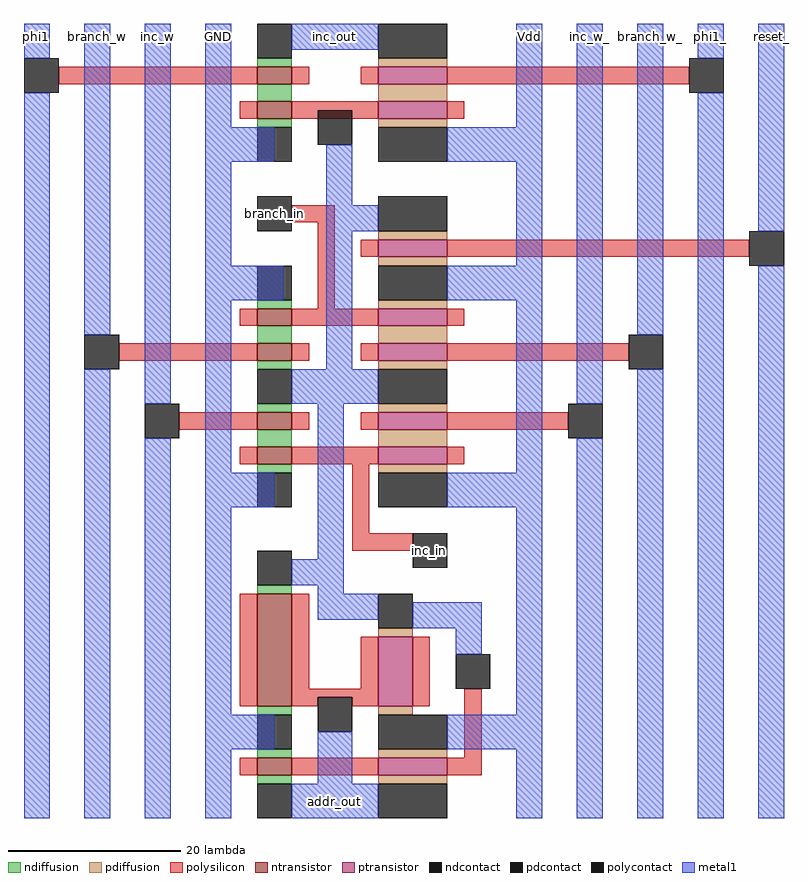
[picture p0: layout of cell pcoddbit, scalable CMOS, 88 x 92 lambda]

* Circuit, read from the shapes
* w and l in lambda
.subckt pcoddbit GND Vdd addr_out branch_in branch_w branch_w_ inc_in inc_out inc_w inc_w_ phi1 phi1_ reset_
M1 GND latch_2/in addr_out VSUBS nfet w=4 l=2
M2 latch_2/in addr_out GND VSUBS nfet w=4 l=13
M3 n1 inc_in GND VSUBS nfet w=4 l=2
M4 latch_2/in inc_w n1 VSUBS nfet w=4 l=2
M5 n2 branch_w latch_2/in VSUBS nfet w=4 l=2
M6 GND branch_in n2 VSUBS nfet w=4 l=2
M7 n3 latch_2/in GND VSUBS nfet w=4 l=2
M8 inc_out phi1 n3 VSUBS nfet w=4 l=2
M9 Vdd latch_2/in addr_out NWELL pfet w=8 l=2
M10 latch_2/in addr_out Vdd NWELL pfet w=4 l=8
M11 n4 inc_in Vdd NWELL pfet w=8 l=2
M12 latch_2/in inc_w_ n4 NWELL pfet w=8 l=2
M13 n5 branch_w_ latch_2/in NWELL pfet w=8 l=2
M14 Vdd branch_in n5 NWELL pfet w=8 l=2
M15 latch_2/in reset_ Vdd NWELL pfet w=8 l=2
M16 n6 latch_2/in Vdd NWELL pfet w=8 l=2
M17 inc_out phi1_ n6 NWELL pfet w=8 l=2
.ends

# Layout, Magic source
magic
tech scmos
<< polysilicon >>
rect -40 38 -19 40
rect 7 38 33 40
rect -13 22 -8 24
rect -10 10 -8 22
rect -5 18 -3 20
rect 5 18 40 20
rect -33 6 -19 8
rect 7 6 26 8
rect -26 -2 -19 0
rect 7 -2 19 0
rect -6 -14 -4 -6
rect -6 -16 1 -14
<< pdiffusion >>
rect -3 20 5 21
rect -3 17 5 18
<< metal1 >>
rect -44 41 -41 45
rect -44 -47 -41 37
rect -37 9 -34 45
rect -37 -47 -34 5
rect -30 1 -27 45
rect -23 33 -20 45
rect -10 42 -6 45
rect -23 29 -15 33
rect 13 33 16 45
rect -23 17 -20 29
rect -9 24 -6 31
rect 5 29 16 33
rect -9 21 -3 24
rect -23 13 -14 17
rect -30 -47 -27 -3
rect -23 -7 -20 13
rect -9 5 -6 21
rect 13 17 16 29
rect 5 13 16 17
rect -23 -11 -15 -7
rect -23 -35 -20 -11
rect -10 -17 -7 1
rect 13 -7 16 13
rect 20 1 23 45
rect 27 9 30 45
rect 34 41 37 45
rect 5 -11 16 -7
rect 13 -35 16 -11
rect -23 -39 -15 -35
rect 11 -39 16 -35
rect -23 -47 -20 -39
rect -10 -47 -6 -43
rect 13 -47 16 -39
rect 20 -47 23 -3
rect 27 -47 30 5
rect 34 -47 37 37
rect 41 21 44 45
rect 41 -47 44 17
<< ptransistor >>
rect -3 18 5 20
<< polycontact >>
rect -44 37 -40 41
rect 33 37 37 41
rect -10 31 -6 35
rect -17 21 -13 25
rect 40 17 44 21
rect -37 5 -33 9
rect 26 5 30 9
rect -30 -3 -26 1
rect 19 -3 23 1
rect 1 -18 5 -14
<< pdcontact >>
rect -3 21 5 25
rect -3 13 5 17
use latch  latch_2
transform 0 1 -17 1 0 35
box -6 -2 10 24
use latch  latch_0
transform 0 1 -17 -1 0 11
box -6 -2 10 24
use latch  latch_1
transform 0 1 -17 1 0 -5
box -6 -2 10 24
use staticizer  staticizer_0
transform 0 1 -21 -1 0 -35
box -19 2 12 32
<< labels >>
rlabel polycontact -15 23 -15 23 1 branch_in
rlabel polycontact 3 -16 3 -16 1 inc_in
rlabel metal1 -30 42 -27 45 4 inc_w
rlabel metal1 20 42 23 45 6 inc_w_
rlabel metal1 13 42 16 45 5 Vdd
rlabel metal1 -23 42 -20 45 5 GND
rlabel metal1 -37 42 -34 45 4 branch_w
rlabel metal1 27 42 30 45 6 branch_w_
rlabel metal1 -44 42 -41 45 4 phi1
rlabel metal1 34 42 37 45 6 phi1_
rlabel metal1 -10 42 -6 45 5 inc_out
rlabel metal1 -10 -47 -6 -43 1 addr_out
rlabel metal1 41 42 44 45 6 reset_
<< end >>

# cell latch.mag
magic
tech scmos
<< polysilicon >>
rect -1 22 1 24
rect 3 22 5 24
rect -1 4 1 14
rect 3 12 5 14
rect 3 4 5 6
rect -1 -2 1 0
rect 3 -2 5 0
<< ndiffusion >>
rect -2 0 -1 4
rect 1 0 3 4
rect 5 0 6 4
<< pdiffusion >>
rect -2 14 -1 22
rect 1 14 3 22
rect 5 14 6 22
<< metal1 >>
rect 7 4 10 14
<< ntransistor >>
rect -1 0 1 4
rect 3 0 5 4
<< ptransistor >>
rect -1 14 1 22
rect 3 14 5 22
<< ndcontact >>
rect -6 0 -2 4
rect 6 0 10 4
<< pdcontact >>
rect -6 14 -2 22
rect 6 14 10 22
<< labels >>
rlabel polysilicon 3 22 5 24 5 latch_
rlabel polysilicon 3 -2 5 0 1 latch
rlabel pdcontact -6 14 -2 22 3 Vdd
rlabel ndcontact -6 0 -2 4 2 GND
rlabel polysilicon -1 8 1 10 1 in
rlabel metal1 7 8 10 10 7 out
<< end >>

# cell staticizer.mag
magic
tech scmos
<< polysilicon >>
rect -3 28 7 30
rect -9 22 -1 24
rect -9 16 -1 18
rect -3 15 -1 16
rect -3 11 -2 15
rect -3 10 -1 11
rect -14 8 -1 10
rect -14 2 -1 4
<< ndiffusion >>
rect -15 4 -14 8
rect -1 4 0 8
<< pdiffusion >>
rect -10 18 -9 22
rect -1 18 0 22
<< metal1 >>
rect -13 27 -7 30
rect -13 22 -10 27
rect 0 26 4 32
rect -14 14 -11 18
rect -18 11 -11 14
rect 2 11 12 15
rect -18 8 -15 11
<< ntransistor >>
rect -14 4 -1 8
<< ptransistor >>
rect -9 18 -1 22
<< polycontact >>
rect -7 27 -3 31
rect -2 11 2 15
<< ndcontact >>
rect -19 4 -15 8
rect 0 4 4 8
<< pdcontact >>
rect -14 18 -10 22
rect 0 18 4 26
use inverter  inverter_0
transform 1 0 5 0 1 -3
box -5 5 7 31
<< labels >>
rlabel metal1 0 28 4 32 5 Vdd
rlabel ndcontact 0 4 4 8 1 GND
rlabel polycontact -7 27 -3 31 5 in
<< end >>

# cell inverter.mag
magic
tech scmos
<< polysilicon >>
rect 0 29 2 31
rect 0 11 2 21
rect 0 5 2 7
<< ndiffusion >>
rect -1 7 0 11
rect 2 7 3 11
<< pdiffusion >>
rect -1 21 0 29
rect 2 21 3 29
<< metal1 >>
rect 3 11 7 21
<< ntransistor >>
rect 0 7 2 11
<< ptransistor >>
rect 0 21 2 29
<< ndcontact >>
rect -5 7 -1 11
rect 3 7 7 11
<< pdcontact >>
rect -5 21 -1 29
rect 3 21 7 29
<< labels >>
rlabel metal1 5 16 5 16 7 out
<< end >>
